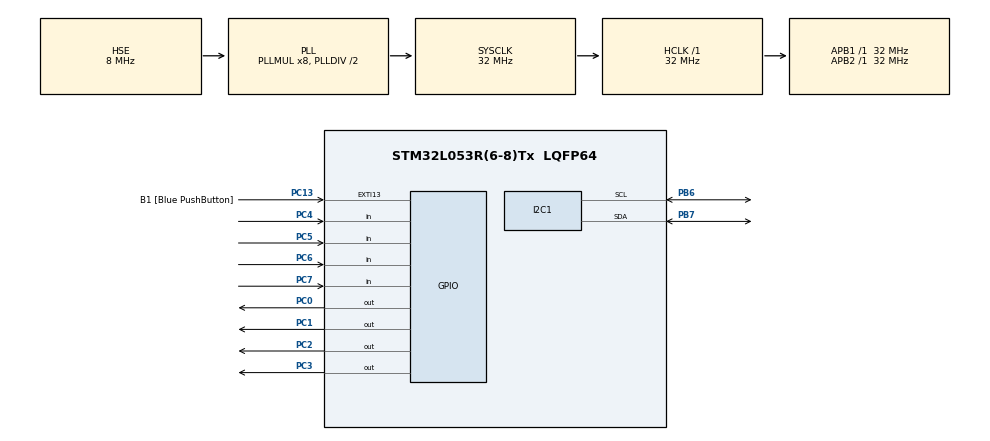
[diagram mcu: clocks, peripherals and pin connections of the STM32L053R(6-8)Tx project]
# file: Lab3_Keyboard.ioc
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I2C1.Timing=0x00707CBB
Mcu.Family=STM32L0
Mcu.Name=STM32L053R(6-8)Tx
Mcu.Package=LQFP64
PA13.GPIO_Label=TMS
PA13.Mode=Serial_Wire
PA13.Signal=SYS_SWDIO
PA14.GPIO_Label=TCK
PA14.Mode=Serial_Wire
PA14.Signal=SYS_SWCLK
PB6.GPIO_Pu=GPIO_PULLUP
PB6.Mode=I2C
PB6.Signal=I2C1_SCL
PB7.GPIO_Pu=GPIO_PULLUP
PB7.Mode=I2C
PB7.Signal=I2C1_SDA
PC0.GPIO_ModeDefaultOutputPP=GPIO_MODE_OUTPUT_PP
PC0.GPIO_PuPd=GPIO_NOPULL
PC0.Signal=GPIO_Output
PC1.GPIO_PuPd=GPIO_NOPULL
PC1.Signal=GPIO_Output
PC13.GPIO_Label=B1 [Blue PushButton]
PC13.GPIO_ModeDefaultEXTI=GPIO_MODE_IT_FALLING
PC13.Signal=GPXTI13
PC14-OSC32_IN.Mode=LSE-External-Oscillator
PC14-OSC32_IN.Signal=RCC_OSC32_IN
PC15-OSC32_OUT.Mode=LSE-External-Oscillator
PC15-OSC32_OUT.Signal=RCC_OSC32_OUT
PC2.GPIO_PuPd=GPIO_NOPULL
PC2.Signal=GPIO_Output
PC3.GPIO_PuPd=GPIO_NOPULL
PC3.Signal=GPIO_Output
PC4.GPIO_PuPd=GPIO_PULLUP
PC4.Signal=GPIO_Input
PC5.GPIO_PuPd=GPIO_PULLUP
PC5.Signal=GPIO_Input
PC6.GPIO_PuPd=GPIO_PULLUP
PC6.Signal=GPIO_Input
PC7.GPIO_PuPd=GPIO_PULLUP
PC7.Signal=GPIO_Input
PH0-OSC_IN.Mode=HSE-External-Oscillator
PH0-OSC_IN.Signal=RCC_OSC_IN
PH1-OSC_OUT.Mode=HSE-External-Oscillator
PH1-OSC_OUT.Signal=RCC_OSC_OUT
ProjectManager.HeapSize=0x200
ProjectManager.StackSize=0x400
ProjectManager.TargetToolchain=MDK-ARM V5.32
RCC.AHBFreq_Value=32000000
RCC.APB1Freq_Value=32000000
RCC.APB1TimFreq_Value=32000000
RCC.APB2Freq_Value=32000000
RCC.APB2TimFreq_Value=32000000
RCC.HCLKFreq_Value=32000000
RCC.HSE_VALUE=8000000
RCC.HSI16_VALUE=16000000
RCC.HSI48_VALUE=48000000
RCC.HSI_VALUE=16000000
RCC.MSI_VALUE=2097000
RCC.PLLMUL=RCC_PLLMUL_8
RCC.PLLSourceVirtual=RCC_PLLSOURCE_HSE
RCC.SYSCLKFreq_VALUE=32000000
RCC.SYSCLKSource=RCC_SYSCLKSOURCE_PLLCLK
RCC.VCOOutputFreq_Value=64000000
board=NUCLEO-L053R8

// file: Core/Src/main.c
/* USER CODE BEGIN Header */
/**
  ******************************************************************************
  * @file           : main.c
  * @brief          : Main program body
  ******************************************************************************
  * @attention
  *
  * Copyright (c) 2023 STMicroelectronics.
  * All rights reserved.
  *
  * This software is licensed under terms that can be found in the LICENSE file
  * in the root directory of this software component.
  * If no LICENSE file comes with this software, it is provided AS-IS.
  *
  ******************************************************************************
  */
/* USER CODE END Header */
#include "main.h"

/* USER CODE BEGIN Includes */
#include "IIC_1602.h"
#include <stdio.h>
#include <string.h>

/* USER CODE END Includes */

I2C_HandleTypeDef hi2c1;

/* USER CODE BEGIN PV */
GPIO_TypeDef* col_ports[4] = {GPIOC, GPIOC, GPIOC, GPIOC};
uint16_t col_pins[4] = {GPIO_PIN_0, GPIO_PIN_1, GPIO_PIN_2, GPIO_PIN_3};
GPIO_TypeDef* row_ports[4] = {GPIOC, GPIOC, GPIOC, GPIOC};
uint16_t row_pins[4] = {GPIO_PIN_4, GPIO_PIN_5, GPIO_PIN_6, GPIO_PIN_7};

uint8_t keymap[4][4] = {
        {'0', '1', '2', '3'},
        {'4', '5', '6', '7'},
        {'8', '9', 'A', 'B'},
        {'C', 'D', 'E', 'F'}};

/* USER CODE END PV */

void SystemClock_Config(void);
static void MX_GPIO_Init(void);
static void MX_I2C1_Init(void);

int main(void)
{

  /* MCU Configuration--------------------------------------------------------*/

  /* Reset of all peripherals, Initializes the Flash interface and the Systick. */
  HAL_Init();

  /* Configure the system clock */
  SystemClock_Config();

  /* Initialize all configured peripherals */
  MX_GPIO_Init();
  MX_I2C1_Init();
  /* USER CODE BEGIN 2 */
	Initialize_LCD(hi2c1);
	clear_LCD();
  /* USER CODE END 2 */

  /* Infinite loop */
  /* USER CODE BEGIN WHILE */
  while (1)
  {

		for ( int i = 0; i < 4; i++) {
			HAL_GPIO_WritePin(col_ports[i], col_pins[i], GPIO_PIN_RESET);
			for ( int j = 0; j < 4; j++) {
				if(HAL_GPIO_ReadPin(row_ports[j], row_pins[j]) == GPIO_PIN_RESET){
					char key_text = keymap[j][i];
					char str[20];
					sprintf(str, "keyboard: %s", &key_text);
					writes(0x80,str);

				}
			}
			HAL_GPIO_WritePin(col_ports[i], col_pins[i], GPIO_PIN_SET);

		}

    /* USER CODE END WHILE */

  }
}

void SystemClock_Config(void)
{
  RCC_OscInitTypeDef RCC_OscInitStruct = {0};
  RCC_ClkInitTypeDef RCC_ClkInitStruct = {0};
  RCC_PeriphCLKInitTypeDef PeriphClkInit = {0};

  /** Configure the main internal regulator output voltage
  */
  __HAL_PWR_VOLTAGESCALING_CONFIG(PWR_REGULATOR_VOLTAGE_SCALE1);

  /** Initializes the RCC Oscillators according to the specified parameters
  * in the RCC_OscInitTypeDef structure.
  */
  RCC_OscInitStruct.OscillatorType = RCC_OSCILLATORTYPE_HSE;
  RCC_OscInitStruct.HSEState = RCC_HSE_ON;
  RCC_OscInitStruct.PLL.PLLState = RCC_PLL_ON;
  RCC_OscInitStruct.PLL.PLLSource = RCC_PLLSOURCE_HSE;
  RCC_OscInitStruct.PLL.PLLMUL = RCC_PLLMUL_8;
  RCC_OscInitStruct.PLL.PLLDIV = RCC_PLLDIV_2;
  if (HAL_RCC_OscConfig(&RCC_OscInitStruct) != HAL_OK)
  {
    Error_Handler();
  }

  /** Initializes the CPU, AHB and APB buses clocks
  */
  RCC_ClkInitStruct.ClockType = RCC_CLOCKTYPE_HCLK|RCC_CLOCKTYPE_SYSCLK
                              |RCC_CLOCKTYPE_PCLK1|RCC_CLOCKTYPE_PCLK2;
  RCC_ClkInitStruct.SYSCLKSource = RCC_SYSCLKSOURCE_PLLCLK;
  RCC_ClkInitStruct.AHBCLKDivider = RCC_SYSCLK_DIV1;
  RCC_ClkInitStruct.APB1CLKDivider = RCC_HCLK_DIV1;
  RCC_ClkInitStruct.APB2CLKDivider = RCC_HCLK_DIV1;

  if (HAL_RCC_ClockConfig(&RCC_ClkInitStruct, FLASH_LATENCY_1) != HAL_OK)
  {
    Error_Handler();
  }
  PeriphClkInit.PeriphClockSelection = RCC_PERIPHCLK_I2C1;
  PeriphClkInit.I2c1ClockSelection = RCC_I2C1CLKSOURCE_PCLK1;
  if (HAL_RCCEx_PeriphCLKConfig(&PeriphClkInit) != HAL_OK)
  {
    Error_Handler();
  }
}

static void MX_I2C1_Init(void)
{

  hi2c1.Instance = I2C1;
  hi2c1.Init.Timing = 0x00707CBB;
  hi2c1.Init.OwnAddress1 = 0;
  hi2c1.Init.AddressingMode = I2C_ADDRESSINGMODE_7BIT;
  hi2c1.Init.DualAddressMode = I2C_DUALADDRESS_DISABLE;
  hi2c1.Init.OwnAddress2 = 0;
  hi2c1.Init.OwnAddress2Masks = I2C_OA2_NOMASK;
  hi2c1.Init.GeneralCallMode = I2C_GENERALCALL_DISABLE;
  hi2c1.Init.NoStretchMode = I2C_NOSTRETCH_DISABLE;
  if (HAL_I2C_Init(&hi2c1) != HAL_OK)
  {
    Error_Handler();
  }

  /** Configure Analogue filter
  */
  if (HAL_I2CEx_ConfigAnalogFilter(&hi2c1, I2C_ANALOGFILTER_ENABLE) != HAL_OK)
  {
    Error_Handler();
  }

  /** Configure Digital filter
  */
  if (HAL_I2CEx_ConfigDigitalFilter(&hi2c1, 0) != HAL_OK)
  {
    Error_Handler();
  }

}

static void MX_GPIO_Init(void)
{
  GPIO_InitTypeDef GPIO_InitStruct = {0};

  /* GPIO Ports Clock Enable */
  __HAL_RCC_GPIOC_CLK_ENABLE();
  __HAL_RCC_GPIOH_CLK_ENABLE();
  __HAL_RCC_GPIOA_CLK_ENABLE();
  __HAL_RCC_GPIOB_CLK_ENABLE();

  /*Configure GPIO pin Output Level */
  HAL_GPIO_WritePin(GPIOC, GPIO_PIN_0|GPIO_PIN_1|GPIO_PIN_2|GPIO_PIN_3, GPIO_PIN_RESET);

  /*Configure GPIO pin : B1_Pin */
  GPIO_InitStruct.Pin = B1_Pin;
  GPIO_InitStruct.Mode = GPIO_MODE_IT_FALLING;
  GPIO_InitStruct.Pull = GPIO_NOPULL;
  HAL_GPIO_Init(B1_GPIO_Port, &GPIO_InitStruct);

  /*Configure GPIO pins : PC0 PC1 PC2 PC3 */
  GPIO_InitStruct.Pin = GPIO_PIN_0|GPIO_PIN_1|GPIO_PIN_2|GPIO_PIN_3;
  GPIO_InitStruct.Mode = GPIO_MODE_OUTPUT_PP;
  GPIO_InitStruct.Pull = GPIO_NOPULL;
  GPIO_InitStruct.Speed = GPIO_SPEED_FREQ_LOW;
  HAL_GPIO_Init(GPIOC, &GPIO_InitStruct);

  /*Configure GPIO pins : PC4 PC5 PC6 PC7 */
  GPIO_InitStruct.Pin = GPIO_PIN_4|GPIO_PIN_5|GPIO_PIN_6|GPIO_PIN_7;
  GPIO_InitStruct.Mode = GPIO_MODE_INPUT;
  GPIO_InitStruct.Pull = GPIO_PULLUP;
  HAL_GPIO_Init(GPIOC, &GPIO_InitStruct);

}

void Error_Handler(void)
{
  __disable_irq();
  while (1)
  {
  }
}
